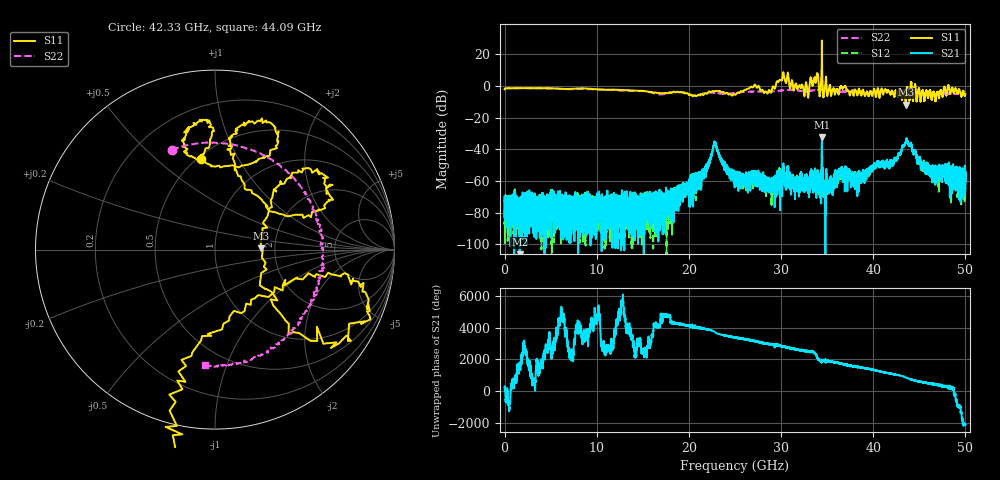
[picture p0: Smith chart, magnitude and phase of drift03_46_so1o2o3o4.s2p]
!Created with skrf (http://scikit-rf.org).
# Hz S RI R 50.0
!freq ReS11 ImS11 ReS21 ImS21 ReS12 ImS12 ReS22 ImS22
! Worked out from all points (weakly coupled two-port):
!   10000 points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, 5.3 MHz to 50 GHz, reference 50 ohm
!   highest |S21| = -32.36 dB at 34.43 GHz (marker M1); lowest = -116.7 dB at 1.64 GHz (marker M2)
!   lowest |S11| = -11.9 dB at 43.52 GHz (marker M3), VSWR 1.69, Z = 84.3 + j1.26 ohm
!   |S11| at or under -10 dB: 43.48368 GHz to 43.55462 GHz (70.94 MHz wide, 0.163 % of centre)
!   |S22| runs from -5.9 to -1.3 dB; largest |S21 - S12| = 0.011
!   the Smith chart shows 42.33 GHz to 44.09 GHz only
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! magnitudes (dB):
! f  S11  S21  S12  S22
! 5.3 MHz  -2.1  -82.3  -78.5  -2.1
! 1.64 GHz  -1.3  -116.7  -84.1  -1.4
! 8.34 GHz  -1.5  -90.6  -76.0  -1.9
! 16.67 GHz  -4.4  -74.9  -71.6  -5.2
! 21.14 GHz  -6.0  -57.5  -59.6  -5.4
! 22.81 GHz  -3.5  -35.7  -35.3  -4.4
! 25.01 GHz  -5.5  -56.2  -56.8  -4.3
! 27.01 GHz  -0.4  -54.8  -55.8  -3.6
! 28.89 GHz  -4.2  -63.9  -61.7  -3.5
! 30.14 GHz  4.5  -57.1  -57.6  -2.8
! 32.74 GHz  2.0  -62.5  -57.3  -3.4
! 33.34 GHz  2.6  -60.1  -56.9  -2.9
! 33.82 GHz  4.0  -63.4  -60.8  -2.5
! 34.43 GHz  28.8  -32.4  -34.8  -2.3
! 35.42 GHz  -6.3  -62.4  -59.5  -2.8
! 36.48 GHz  -0.4  -56.9  -54.0  -3.8
! 38.16 GHz  -3.7  -59.6  -57.2  -2.9
! 41.67 GHz  -3.0  -49.8  -50.3  -3.7
! 43.52 GHz  -11.9  -35.6  -35.7  -4.3
! 46.41 GHz  -7.1  -58.3  -54.9  -5.5
! 48.14 GHz  0.6  -58.4  -54.5  -4.9
! 50 GHz  -5.3  -54.1  -67.1  -5.0
